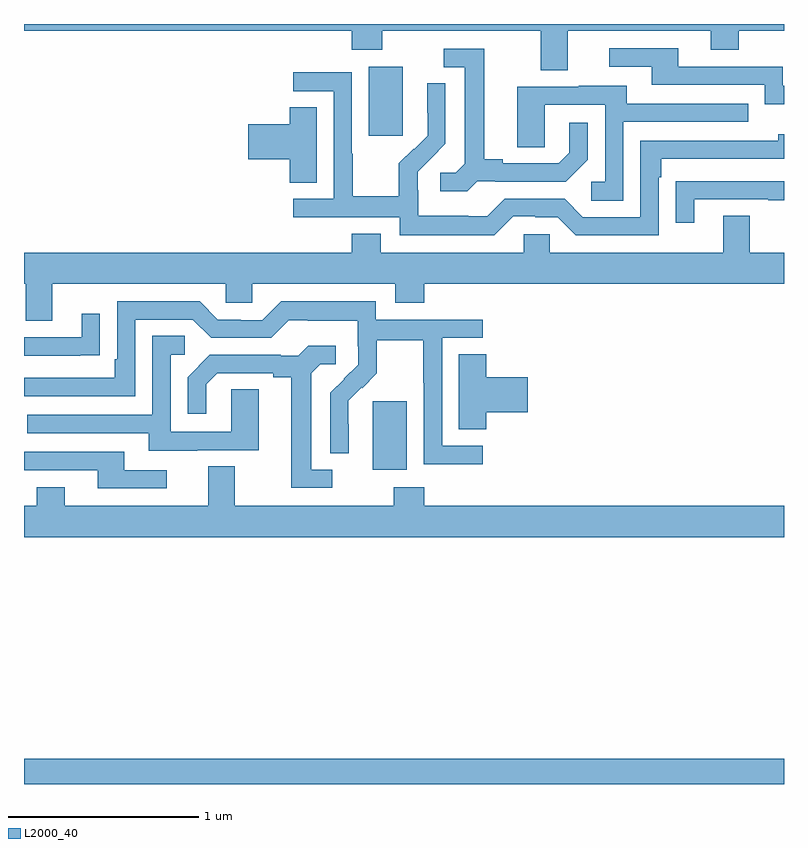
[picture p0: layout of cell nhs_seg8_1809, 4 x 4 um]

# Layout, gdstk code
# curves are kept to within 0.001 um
import gdstk
lib = gdstk.Library(unit=1e-6, precision=1e-09)
def R(c, l, rs):  # rectangles x0, y0, x1, y1
    for r in rs: c.add(gdstk.rectangle(r[:2], r[2:], *l))
def P(c, l, *ps):  # polygons
    for p in ps: c.add(gdstk.Polygon(p, *l))
L2000_40 = (2000, 40)

nhs_seg8_1809 = lib.new_cell('nhs_seg8_1809')
R(nhs_seg8_1809, L2000_40, [(227,1081.9,231,1082.032), (228.836,1083.554,229.015,1083.915), (228.815,1085.313,228.994,1085.674)])
P(nhs_seg8_1809, L2000_40, [(227,1085.864),(228.725,1085.864),(228.725,1085.765),(228.885,1085.765),(228.885,1085.864),(229.721,1085.864),(229.721,1085.656),(229.861,1085.656),(229.861,1085.864),(230.615,1085.864),(230.615,1085.765),(230.763,1085.765),(230.763,1085.864),(231,1085.864),(231,1085.9),(227,1085.9)],
  [(231,1085.574),(230.994,1085.574),(230.994,1085.676),(230.443,1085.676),(230.443,1085.772),(230.079,1085.772),(230.079,1085.676),(230.303,1085.676),(230.303,1085.58),(230.898,1085.58),(230.898,1085.477),(231,1085.477)],
  [(229.386,1085.073),(229.48,1085.073),(229.48,1085.07),(229.852,1085.07),(229.968,1085.186),(229.968,1085.38),(229.871,1085.38),(229.871,1085.223),(229.814,1085.166),(229.519,1085.166),(229.519,1085.189),(229.423,1085.189),(229.423,1085.769),(229.209,1085.769),(229.209,1085.673),(229.319,1085.673),(229.319,1085.165),(229.272,1085.118),(229.191,1085.118),(229.191,1085.021),(229.334,1085.021)],
  [(229.575,1084.887),(229.691,1084.887),(229.691,1084.884),(229.809,1084.884),(229.905,1084.788),(230.34,1084.788),(230.34,1085.093),(230.353,1085.093),(230.353,1085.19),(231,1085.19),(231,1085.32),(230.969,1085.32),(230.969,1085.286),(230.244,1085.286),(230.244,1084.884),(229.941,1084.884),(229.845,1084.98),(229.53,1084.98),(229.437,1084.887),(229.337,1084.887),(229.337,1084.891),(229.074,1084.891),(229.074,1085.025),(229.072,1085.025),(229.072,1085.122),(229.218,1085.27),(229.218,1085.588),(229.122,1085.588),(229.122,1085.434),(229.124,1085.434),(229.124,1085.312),(229.053,1085.241),(229.05,1085.244),(228.973,1085.167),(228.973,1084.993),(228.729,1084.993),(228.729,1085.216),(228.726,1085.216),(228.726,1085.646),(228.417,1085.646),(228.417,1085.547),(228.63,1085.547),(228.63,1084.98),(228.417,1084.98),(228.417,1084.884),(228.978,1084.884),(228.978,1084.787),(229.475,1084.787)],
  [(230.154,1085.385),(230.813,1085.385),(230.813,1085.481),(230.173,1085.481),(230.173,1085.575),(229.919,1085.575),(229.919,1085.571),(229.595,1085.571),(229.595,1085.251),(229.74,1085.251),(229.74,1085.475),(230.058,1085.475),(230.058,1085.07),(229.986,1085.07),(229.986,1084.969),(230.154,1084.969)],
  [(228.541,1085.462),(228.398,1085.462),(228.398,1085.372),(228.18,1085.372),(228.18,1085.189),(228.398,1085.189),(228.398,1085.065),(228.541,1085.065)],
  [(230.527,1084.977),(230.917,1084.977),(230.917,1084.972),(231,1084.972),(231,1085.073),(230.533,1085.073),(230.533,1085.072),(230.431,1085.072),(230.431,1084.854),(230.527,1084.854)],
  [(227.149,1084.532),(228.063,1084.532),(228.063,1084.434),(228.201,1084.434),(228.201,1084.532),(228.953,1084.532),(228.953,1084.433),(229.106,1084.433),(229.106,1084.532),(231,1084.532),(231,1084.696),(230.821,1084.696),(230.821,1084.891),(230.681,1084.891),(230.681,1084.696),(229.767,1084.696),(229.767,1084.794),(229.629,1084.794),(229.629,1084.696),(228.877,1084.696),(228.877,1084.795),(228.725,1084.795),(228.725,1084.696),(227,1084.696),(227,1084.532),(227.009,1084.532),(227.009,1084.338),(227.149,1084.338)],
  [(229.414,1083.681),(229.2,1083.681),(229.2,1084.248),(229.414,1084.248),(229.414,1084.344),(228.852,1084.344),(228.852,1084.441),(228.355,1084.441),(228.255,1084.341),(228.14,1084.341),(228.14,1084.344),(228.021,1084.344),(227.925,1084.44),(227.49,1084.44),(227.49,1084.135),(227.477,1084.135),(227.477,1084.038),(227,1084.038),(227,1083.942),(227.586,1083.942),(227.586,1084.344),(227.889,1084.344),(227.985,1084.248),(228.3,1084.248),(228.393,1084.341),(228.493,1084.341),(228.493,1084.337),(228.756,1084.337),(228.756,1084.203),(228.758,1084.203),(228.758,1084.106),(228.612,1083.958),(228.612,1083.64),(228.708,1083.64),(228.707,1083.917),(228.777,1083.987),(228.78,1083.984),(228.857,1084.061),(228.857,1084.236),(229.102,1084.236),(229.102,1084.012),(229.104,1084.012),(229.104,1083.583),(229.414,1083.583)],
  [(227.297,1084.156),(227.399,1084.156),(227.399,1084.375),(227.303,1084.375),(227.303,1084.251),(227,1084.251),(227,1084.155),(227.297,1084.155)],
  [(227.911,1083.657),(228.235,1083.657),(228.235,1083.977),(228.09,1083.977),(228.09,1083.753),(227.772,1083.753),(227.772,1084.158),(227.845,1084.158),(227.845,1084.259),(227.676,1084.259),(227.676,1083.843),(227.017,1083.843),(227.017,1083.747),(227.657,1083.747),(227.657,1083.653),(227.911,1083.653)],
  [(228.622,1083.555),(228.511,1083.555),(228.511,1084.063),(228.558,1084.11),(228.64,1084.11),(228.64,1084.207),(228.496,1084.207),(228.444,1084.155),(228.35,1084.155),(228.35,1084.158),(227.978,1084.158),(227.862,1084.042),(227.862,1083.849),(227.959,1083.849),(227.959,1084.005),(228.016,1084.062),(228.311,1084.062),(228.311,1084.04),(228.407,1084.04),(228.407,1083.459),(228.622,1083.459)],
  [(229.433,1083.857),(229.651,1083.857),(229.651,1084.04),(229.433,1084.04),(229.433,1084.163),(229.289,1084.163),(229.289,1083.766),(229.433,1083.766)],
  [(227.752,1083.552),(227.527,1083.552),(227.527,1083.648),(227,1083.648),(227,1083.552),(227.387,1083.552),(227.387,1083.456),(227.752,1083.456)],
  [(231,1083.364),(229.106,1083.364),(229.106,1083.463),(228.946,1083.463),(228.946,1083.364),(228.109,1083.364),(228.109,1083.572),(227.969,1083.572),(227.969,1083.364),(227.215,1083.364),(227.215,1083.463),(227.068,1083.463),(227.068,1083.364),(227,1083.364),(227,1083.2),(231,1083.2)])

lib.write_gds('nhs_seg8_1809.gds')
